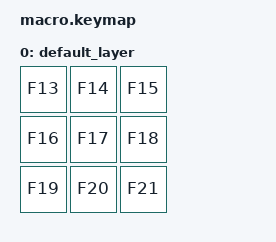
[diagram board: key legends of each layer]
#include <behaviors.dtsi>
#include <dt-bindings/zmk/keys.h>

/ {
    keymap {
        compatible = "zmk,keymap";

        default_layer {

            bindings = <
    
     &kp F13 &kp F14 &kp F15
     &kp F16 &kp F17 &kp F18 
     &kp F19 &kp F20 &kp F21 

            >;

        };
    };
};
